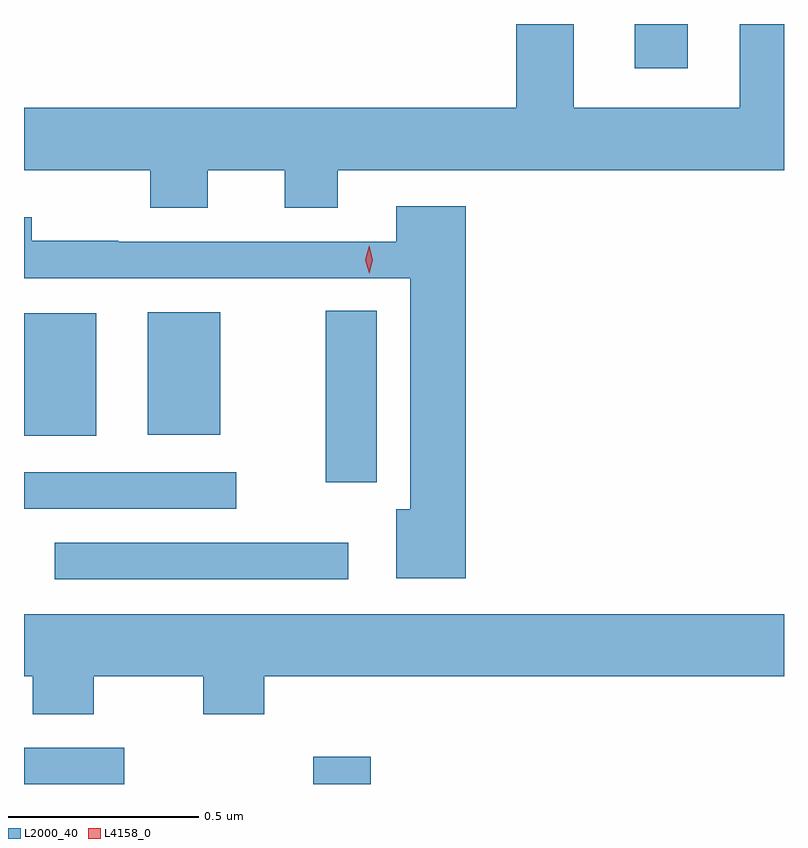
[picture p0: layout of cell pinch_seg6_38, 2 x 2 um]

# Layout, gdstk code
import gdstk
lib = gdstk.Library(unit=1e-6, precision=1e-09)
def R(c, l, rs):  # rectangles x0, y0, x1, y1
    for r in rs: c.add(gdstk.rectangle(r[:2], r[2:], *l))
def P(c, l, *ps):  # polygons
    for p in ps: c.add(gdstk.Polygon(p, *l))
L2000_40 = (2000, 40)
L4158_0 = (4158, 0)

pinch_seg6_38 = lib.new_cell('pinch_seg6_38')
R(pinch_seg6_38, L2000_40, [(951.324,968.365,951.588,968.461), (952.085,968.365,952.237,968.437), (951.405,968.904,952.177,969), (951.324,969.09,951.883,969.186), (952.118,969.159,952.252,969.611), (951.324,969.281,951.514,969.604), (951.65,969.284,951.841,969.607), (952.931,970.248,953.071,970.365)])
P(pinch_seg6_38, L2000_40, [(951.808,969.98),(952.01,969.98),(952.01,969.881),(952.15,969.881),(952.15,969.98),(953.324,969.98),(953.324,970.365),(953.207,970.365),(953.207,970.144),(952.771,970.144),(952.771,970.365),(952.619,970.365),(952.619,970.144),(951.324,970.144),(951.324,969.98),(951.656,969.98),(951.656,969.881),(951.808,969.881)],
  [(952.487,969.886),(952.304,969.886),(952.304,969.792),(951.572,969.792),(951.572,969.794),(951.345,969.794),(951.345,969.856),(951.324,969.856),(951.324,969.696),(952.34,969.696),(952.34,969.088),(952.304,969.088),(952.304,968.906),(952.487,968.906)],
  [(951.507,968.648),(951.796,968.648),(951.796,968.549),(951.956,968.549),(951.956,968.648),(953.324,968.648),(953.324,968.812),(951.324,968.812),(951.324,968.648),(951.347,968.648),(951.347,968.549),(951.507,968.549)])
P(pinch_seg6_38, L4158_0, [(952.233,969.709),(952.233,969.709),(952.222,969.745),(952.232,969.781),(952.232,969.781),(952.232,969.781),(952.242,969.745),(952.233,969.709)])

lib.write_gds('pinch_seg6_38.gds')
